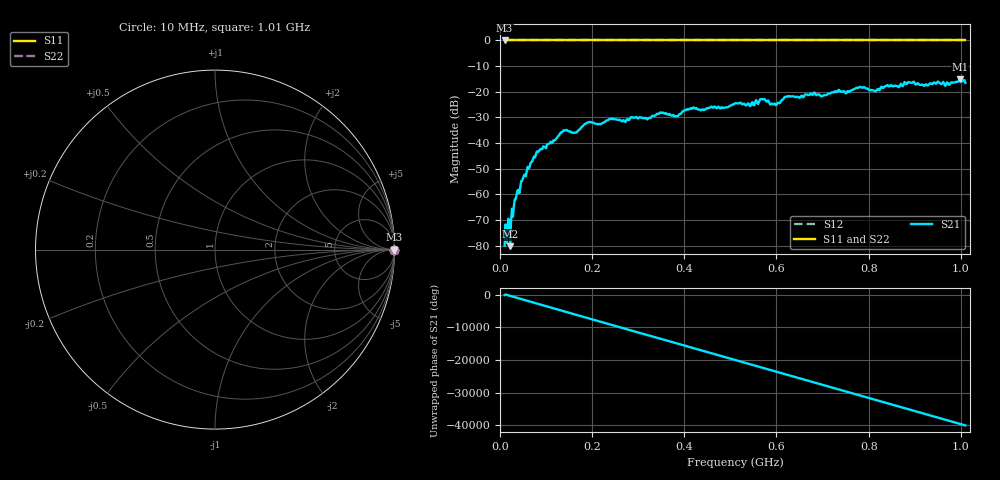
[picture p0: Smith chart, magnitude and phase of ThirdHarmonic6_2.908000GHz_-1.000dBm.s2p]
! 8/17/2025 8:03:26 AM
! C:\ANRITSUVNA\TEMP\TEMP.S2P
! CHANNEL.1
! TR.MEASUREMENT
! RAW.DATA
! RF.CORRECTION.OFF
! AVERAGING.OFF
! IF.BANDWIDTH: 5KHZ
! SWEEPTYPE:  FREQ.SWEEP(Linear)
! Reference Plane Port Info
! PORT:  PORT1  PORT2
! DISTANCE:  0  m  0  m
! TIME:  0  s  0  s
! PHASE.OFFSET:  0  deg.  0  deg.
! LOSS:  0  dB  0  dB
! REF.LOSS:  0  dB  0  dB
! REF.FREQ:  0  Hz  0  Hz
! Power Info
! POWER:  -20  dBm  -20  dBm
! EFF.POWER:  -20  dBm  -20  dBm
! SOURCE.ATTEN:  0  dB  0  dB
! TEST.ATTEN:  0  dB  0  dB
# GHZ S RI R 50.0
! FREQ.GHZ  S11RE  S11IM  S21RE  S21IM  S12RE  S12IM  S22RE  S22IM
!; PortSelection: Port_12
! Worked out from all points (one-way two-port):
!   501 points, 10 MHz to 1.01 GHz, reference 50 ohm
!   highest |S21| = -15.18 dB at 998 MHz (marker M1); lowest = -80.2 dB at 22 MHz (marker M2)
!   lowest |S11| = 0.0 dB at 10 MHz (marker M3)
!   |S11| at or under -10 dB: nowhere
!   |S22| runs from 0.0 to 0.0 dB; largest |S21 - S12| = 1.2
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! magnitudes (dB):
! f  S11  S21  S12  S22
! 10 MHz  0.0  -80.0  0.0  0.0
! 16 MHz  0.0  -74.7  0.0  0.0
! 22 MHz  0.0  -80.2  0.0  0.0
! 26 MHz  0.0  -65.6  0.0  0.0
! 28 MHz  0.0  -68.7  0.0  0.0
! 36 MHz  0.0  -60.2  0.0  0.0
! 50 MHz  0.0  -53.7  0.0  0.0
! 82 MHz  0.0  -43.4  0.0  0.0
! 136 MHz  0.0  -35.5  0.0  0.0
! 162 MHz  0.0  -36.0  0.0  0.0
! 178 MHz  0.0  -33.6  0.0  0.0
! 344 MHz  0.0  -28.6  0.0  0.0
! 382 MHz  0.0  -29.5  0.0  0.0
! 416 MHz  0.0  -26.7  0.0  0.0
! 510 MHz  0.0  -24.5  0.0  0.0
! 570 MHz  0.0  -22.9  0.0  0.0
! 596 MHz  0.0  -24.6  0.0  0.0
! 622 MHz  0.0  -21.9  0.0  0.0
! 678 MHz  0.0  -21.2  0.0  0.0
! 844 MHz  0.0  -17.9  0.0  0.0
! 998 MHz  0.0  -15.2  0.0  0.0
! 1.01 GHz  0.0  -16.5  0.0  0.0
